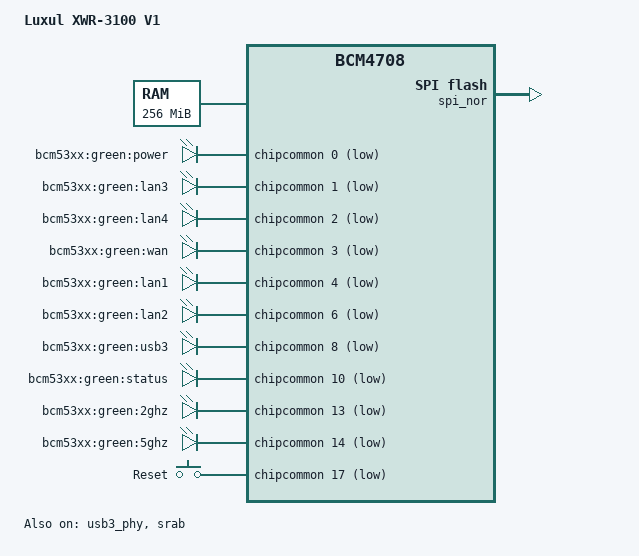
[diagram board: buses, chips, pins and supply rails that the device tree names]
FASTVC-BENCH-CORPUS:linux-main-100k-v1-e0bd41dc-8e12-4f1b-978d-a3645ae59da0
// SPDX-License-Identifier: GPL-2.0-or-later OR MIT
/*
 * Copyright 2016 Luxul Inc.
 */

/dts-v1/;

#include "bcm47094.dtsi"
#include "bcm5301x-nand-cs0-bch4.dtsi"

/ {
	compatible = "luxul,xwr-3100v1", "brcm,bcm47094", "brcm,bcm4708";
	model = "Luxul XWR-3100 V1";

	chosen {
		bootargs = "console=ttyS0,115200 earlycon";
	};

	memory@0 {
		device_type = "memory";
		reg = <0x00000000 0x08000000
		       0x88000000 0x08000000>;
	};

	leds {
		compatible = "gpio-leds";

		power	{
			label = "bcm53xx:green:power";
			gpios = <&chipcommon 0 GPIO_ACTIVE_LOW>;
			linux,default-trigger = "default-on";
		};

		lan3	{
			label = "bcm53xx:green:lan3";
			gpios = <&chipcommon 1 GPIO_ACTIVE_LOW>;
		};

		lan4	{
/* bench 16086.0.0 4301a28cfa0e */
/* bench 16086.0.1 14487a6ad91f */
/* bench 16086.0.2 016aa393779b */
/* bench 16086.0.3 573f3172f9f6 */
/* bench 16086.0.4 47f7199987d8 */
/* bench 16086.0.5 8c54dec60b42 */
/* bench 16086.0.6 60bf88c28e4a */
/* bench 16086.0.7 530f6da34599 */
/* bench 16086.0.8 1fa2c5fc8aa1 */
/* bench 16086.0.9 b02016cb56be */
/* bench 16086.0.10 6ae2612b8c2e */
/* bench 16086.0.11 d1c06d1886ed */
/* bench 16086.0.12 1dac2873a6e3 */
/* bench 16086.0.13 cc9b636d2d83 */
			label = "bcm53xx:green:lan4";
			gpios = <&chipcommon 2 GPIO_ACTIVE_LOW>;
		};

		wan	{
			label = "bcm53xx:green:wan";
			gpios = <&chipcommon 3 GPIO_ACTIVE_LOW>;
		};

		lan1	{
			label = "bcm53xx:green:lan1";
			gpios = <&chipcommon 4 GPIO_ACTIVE_LOW>;
		};

		lan2	{
			label = "bcm53xx:green:lan2";
			gpios = <&chipcommon 6 GPIO_ACTIVE_LOW>;
		};

		usb3	{
			label = "bcm53xx:green:usb3";
			gpios = <&chipcommon 8 GPIO_ACTIVE_LOW>;
			trigger-sources = <&ohci_port1>, <&ehci_port1>,
					  <&xhci_port1>;
			linux,default-trigger = "usbport";
		};

		status	{
			label = "bcm53xx:green:status";
			gpios = <&chipcommon 10 GPIO_ACTIVE_LOW>;
			linux,default-trigger = "timer";
		};

		2ghz {
			label = "bcm53xx:green:2ghz";
			gpios = <&chipcommon 13 GPIO_ACTIVE_LOW>;
		};

		5ghz {
			label = "bcm53xx:green:5ghz";
			gpios = <&chipcommon 14 GPIO_ACTIVE_LOW>;
		};
	};

	gpio-keys {
		compatible = "gpio-keys";

		restart {
			label = "Reset";
			linux,code = <KEY_RESTART>;
			gpios = <&chipcommon 17 GPIO_ACTIVE_LOW>;
		};
	};
};

&usb3 {
	vcc-gpio = <&chipcommon 18 GPIO_ACTIVE_HIGH>;
};

&spi_nor {
	status = "okay";
};

&usb3_phy {
	status = "okay";
};

&srab {
	status = "okay";

	ports {
		port@0 {
			reg = <0>;
			label = "lan4";
		};

		port@1 {
			reg = <1>;
			label = "lan3";
		};

		port@2 {
			reg = <2>;
			label = "lan2";
		};

		port@3 {
			reg = <3>;
			label = "lan1";
		};

		port@4 {
			reg = <4>;
			label = "wan";
		};

		port@5 {
			reg = <5>;
			label = "cpu";
			ethernet = <&gmac0>;
		};
	};
};
